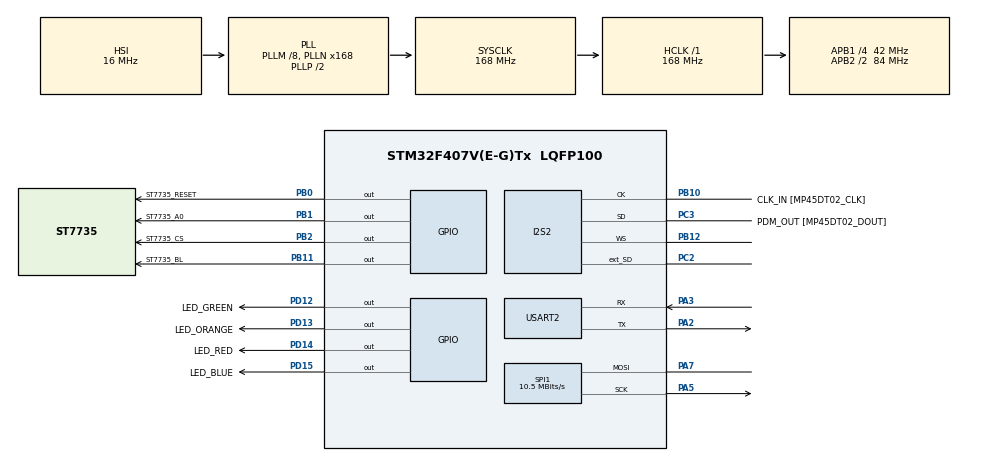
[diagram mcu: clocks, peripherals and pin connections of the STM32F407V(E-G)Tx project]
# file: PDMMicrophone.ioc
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I2S2.AudioFreq=I2S_AUDIOFREQ_16K
I2S2.DataFormat=I2S_DATAFORMAT_16B
I2S2.ErrorAudioFreq=-0.35 %
I2S2.FullDuplexMode=I2S_FULLDUPLEXMODE_ENABLE
I2S2.Instance=SPI$Index
I2S2.Mode=I2S_MODE_MASTER_RX
I2S2.RealAudioFreq=15.943 KHz
I2S2.VirtualMode=I2S_MODE_MASTER
Mcu.Family=STM32F4
Mcu.Name=STM32F407V(E-G)Tx
Mcu.Package=LQFP100
NVIC.PriorityGroup=NVIC_PRIORITYGROUP_4
PA2.Mode=Asynchronous
PA2.Signal=USART2_TX
PA3.Mode=Asynchronous
PA3.Signal=USART2_RX
PA5.Mode=Simplex_Bidirectional_Master
PA5.Signal=SPI1_SCK
PA7.Mode=Simplex_Bidirectional_Master
PA7.Signal=SPI1_MOSI
PB0.GPIO_Label=ST7735_RESET
PB0.Signal=GPIO_Output
PB1.GPIO_Label=ST7735_A0
PB1.Signal=GPIO_Output
PB10.GPIO_Label=CLK_IN [MP45DT02_CLK]
PB10.Mode=Full_Duplex_Master
PB10.Signal=I2S2_CK
PB11.GPIO_Label=ST7735_BL
PB11.Signal=GPIO_Output
PB12.Mode=Full_Duplex_Master
PB12.Signal=I2S2_WS
PB2.GPIO_Label=ST7735_CS
PB2.Signal=GPIO_Output
PC2.Mode=Full_Duplex_Master
PC2.Signal=I2S2_ext_SD
PC3.GPIO_Label=PDM_OUT [MP45DT02_DOUT]
PC3.Mode=Full_Duplex_Master
PC3.Signal=I2S2_SD
PD12.GPIO_Label=LED_GREEN
PD12.Signal=GPIO_Output
PD13.GPIO_Label=LED_ORANGE
PD13.Signal=GPIO_Output
PD14.GPIO_Label=LED_RED
PD14.Signal=GPIO_Output
PD15.GPIO_Label=LED_BLUE
PD15.Signal=GPIO_Output
PDM2PCM.CHANNEL1_high_pass_tap=2147483647
PDM2PCM.CHANNEL1_in_ptr_channels=1
PDM2PCM.CHANNEL1_mic_gain=0
PDM2PCM.CHANNEL1_out_ptr_channels=1
PDM2PCM.CHANNEL1_output_samples_number=16
ProjectManager.HeapSize=0x200
ProjectManager.StackSize=0x400
ProjectManager.TargetToolchain=STM32CubeIDE
RCC.48MHZClocksFreq_Value=84000000
RCC.AHBFreq_Value=168000000
RCC.APB1CLKDivider=RCC_HCLK_DIV4
RCC.APB1Freq_Value=42000000
RCC.APB1TimFreq_Value=84000000
RCC.APB2CLKDivider=RCC_HCLK_DIV2
RCC.APB2Freq_Value=84000000
RCC.APB2TimFreq_Value=168000000
RCC.CortexFreq_Value=168000000
RCC.HCLKFreq_Value=168000000
RCC.HSE_VALUE=8000000
RCC.HSI_VALUE=16000000
RCC.LSE_VALUE=32768
RCC.PLLI2SN=50
RCC.PLLM=8
RCC.PLLN=168
RCC.SYSCLKFreq_VALUE=168000000
RCC.SYSCLKSource=RCC_SYSCLKSOURCE_PLLCLK
RCC.VCOOutputFreq_Value=336000000
SPI1.BaudRatePrescaler=SPI_BAUDRATEPRESCALER_8
SPI1.CalculateBaudRate=10.5 MBits/s
SPI1.Direction=SPI_DIRECTION_1LINE
SPI1.Mode=SPI_MODE_MASTER
SPI1.VirtualType=VM_MASTER
USART2.VirtualMode=VM_ASYNC
VP_CRC_VS_CRC.Mode=CRC_Activate
VP_PDM2PCM_VS_PDM2PCM.Mode=PDM2PCM_Channel
board=custom

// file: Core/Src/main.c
/* USER CODE BEGIN Header */
/**
  ******************************************************************************
  * @file           : main.c
  * @brief          : Main program body
  ******************************************************************************
  * @attention
  *
  * Copyright (c) 2022 STMicroelectronics.
  * All rights reserved.
  *
  * This software is licensed under terms that can be found in the LICENSE file
  * in the root directory of this software component.
  * If no LICENSE file comes with this software, it is provided AS-IS.
  *
  ******************************************************************************
  */
/* USER CODE END Header */
#include "main.h"
#include "pdm2pcm.h"

/* USER CODE BEGIN Includes */
#include "string.h"
#include "st7735.h"
#include "fonts.h"
#include <stdio.h>
#include <stdlib.h>
/* USER CODE END Includes */

/* USER CODE BEGIN PD */
#define MILS 10
#define PDM_BUFFER_SIZE 32
#define PCM_BUFFER_SIZE 2500
#define DOWNGRADE 0.95
#define PDM_BLOCK_SIZE_BITS 16
/* USER CODE END PD */

 CRC_HandleTypeDef hcrc;

I2S_HandleTypeDef hi2s2;

SPI_HandleTypeDef hspi1;

UART_HandleTypeDef huart2;

/* USER CODE BEGIN PV */
uint8_t count = 0;
uint8_t x, y;
/* USER CODE END PV */

void SystemClock_Config(void);
static void MX_GPIO_Init(void);
static void MX_CRC_Init(void);
static void MX_I2S2_Init(void);
static void MX_USART2_UART_Init(void);
static void MX_SPI1_Init(void);

/**
  */
int main(void)
{
  /* USER CODE BEGIN 1 */
  uint16_t PDM_buffer[PDM_BUFFER_SIZE];
  uint16_t PDM_value = 0;
  uint16_t pcmCount = 0;

  uint8_t i;
  uint8_t PCM_value = 0;

  float PCM_buffer = 0.0;
  float AMP_buffer = 0.0;

  float maxAmp = 0;
  float aveAmp = 0;
  /* USER CODE END 1 */

  /* MCU Configuration--------------------------------------------------------*/

  /* Reset of all peripherals, Initializes the Flash interface and the Systick. */
  HAL_Init();

  /* Configure the system clock */
  SystemClock_Config();

  /* Initialize all configured peripherals */
  MX_GPIO_Init();
  MX_CRC_Init();
  MX_I2S2_Init();
  MX_PDM2PCM_Init();
  MX_USART2_UART_Init();
  MX_SPI1_Init();
  /* USER CODE BEGIN 2 */
  ST7735_Init ();
  ST7735_Backlight_On ();
  ST7735_SetRotation (2);
  ST7735_FillScreen (YELLOW);
  int AMPCount = 0;
  /* USER CODE END 2 */

  /* Infinite loop */
  /* USER CODE BEGIN WHILE */
  while (1)
  {
      HAL_I2S_Receive (&hi2s2, PDM_buffer, PDM_BUFFER_SIZE, 1000);
      for (i = 0; i < PDM_BUFFER_SIZE; i++)
	{
	  PCM_value = -PDM_BLOCK_SIZE_BITS / 2;
	  PDM_value = PDM_buffer[i];
	  while (PDM_value != 0)
	    {
	      PCM_value++;
	      PDM_value ^= PDM_value & -PDM_value;
	    }
	  PCM_buffer += abs (PCM_value);
	  PCM_buffer *= DOWNGRADE;
	  AMP_buffer += abs (PCM_buffer);
	  AMP_buffer *= DOWNGRADE;
	}
      pcmCount++;
      AMPCount++;
      maxAmp += AMP_buffer;
//      if (maxAmp < AMP_buffer)
//	maxAmp = AMP_buffer;
      if (pcmCount == 16)
	{
	  aveAmp = maxAmp / AMPCount;
	  count++;
	  if (count < 128)
	    {
	      x = count;
	      y = 128 - (aveAmp / 500);
	      ST7735_DrawCrossPixel (x, y, GREEN);
	      ST7735_DrawFastVLine (x, 127, -(aveAmp / 500), RED);
	    }
	  else
	    {
	      ST7735_FillScreen (YELLOW);
	      count = 0;
	    }
	  pcmCount = 0;
	  maxAmp = 0;
	  AMPCount = 0;
	  aveAmp = 0;
	}
    /* USER CODE END WHILE */

  }
}
void SystemClock_Config(void)
{
  RCC_OscInitTypeDef RCC_OscInitStruct = {0};
  RCC_ClkInitTypeDef RCC_ClkInitStruct = {0};
  /** Configure the main internal regulator output voltage
  */
  __HAL_RCC_PWR_CLK_ENABLE();
  __HAL_PWR_VOLTAGESCALING_CONFIG(PWR_REGULATOR_VOLTAGE_SCALE1);
  /** Initializes the RCC Oscillators according to the specified parameters
  * in the RCC_OscInitTypeDef structure.
  */
  RCC_OscInitStruct.OscillatorType = RCC_OSCILLATORTYPE_HSI;
  RCC_OscInitStruct.HSIState = RCC_HSI_ON;
  RCC_OscInitStruct.HSICalibrationValue = RCC_HSICALIBRATION_DEFAULT;
  RCC_OscInitStruct.PLL.PLLState = RCC_PLL_ON;
  RCC_OscInitStruct.PLL.PLLSource = RCC_PLLSOURCE_HSI;
  RCC_OscInitStruct.PLL.PLLM = 8;
  RCC_OscInitStruct.PLL.PLLN = 168;
  RCC_OscInitStruct.PLL.PLLP = RCC_PLLP_DIV2;
  RCC_OscInitStruct.PLL.PLLQ = 4;
  if (HAL_RCC_OscConfig(&RCC_OscInitStruct) != HAL_OK)
  {
    Error_Handler();
  }
  /** Initializes the CPU, AHB and APB buses clocks
  */
  RCC_ClkInitStruct.ClockType = RCC_CLOCKTYPE_HCLK | RCC_CLOCKTYPE_SYSCLK
      | RCC_CLOCKTYPE_PCLK1 | RCC_CLOCKTYPE_PCLK2;
  RCC_ClkInitStruct.SYSCLKSource = RCC_SYSCLKSOURCE_PLLCLK;
  RCC_ClkInitStruct.AHBCLKDivider = RCC_SYSCLK_DIV1;
  RCC_ClkInitStruct.APB1CLKDivider = RCC_HCLK_DIV4;
  RCC_ClkInitStruct.APB2CLKDivider = RCC_HCLK_DIV2;
  if (HAL_RCC_ClockConfig(&RCC_ClkInitStruct, FLASH_LATENCY_5) != HAL_OK)
  {
    Error_Handler();
  }
}

static void MX_CRC_Init(void)
{

  hcrc.Instance = CRC;
  if (HAL_CRC_Init(&hcrc) != HAL_OK)
  {
    Error_Handler();
  }
  __HAL_CRC_DR_RESET(&hcrc);

}

static void MX_I2S2_Init(void)
{

  hi2s2.Instance = SPI2;
  hi2s2.Init.Mode = I2S_MODE_MASTER_RX;
  hi2s2.Init.Standard = I2S_STANDARD_PHILIPS;
  hi2s2.Init.DataFormat = I2S_DATAFORMAT_16B;
  hi2s2.Init.MCLKOutput = I2S_MCLKOUTPUT_DISABLE;
  hi2s2.Init.AudioFreq = I2S_AUDIOFREQ_16K;
  hi2s2.Init.CPOL = I2S_CPOL_LOW;
  hi2s2.Init.ClockSource = I2S_CLOCK_PLL;
  hi2s2.Init.FullDuplexMode = I2S_FULLDUPLEXMODE_ENABLE;
  if (HAL_I2S_Init(&hi2s2) != HAL_OK)
  {
    Error_Handler();
  }

}

static void MX_SPI1_Init(void)
{

  /* SPI1 parameter configuration*/
  hspi1.Instance = SPI1;
  hspi1.Init.Mode = SPI_MODE_MASTER;
  hspi1.Init.Direction = SPI_DIRECTION_1LINE;
  hspi1.Init.DataSize = SPI_DATASIZE_8BIT;
  hspi1.Init.CLKPolarity = SPI_POLARITY_LOW;
  hspi1.Init.CLKPhase = SPI_PHASE_1EDGE;
  hspi1.Init.NSS = SPI_NSS_SOFT;
  hspi1.Init.BaudRatePrescaler = SPI_BAUDRATEPRESCALER_8;
  hspi1.Init.FirstBit = SPI_FIRSTBIT_MSB;
  hspi1.Init.TIMode = SPI_TIMODE_DISABLE;
  hspi1.Init.CRCCalculation = SPI_CRCCALCULATION_DISABLE;
  hspi1.Init.CRCPolynomial = 10;
  if (HAL_SPI_Init(&hspi1) != HAL_OK)
  {
    Error_Handler();
  }

}

static void MX_USART2_UART_Init(void)
{

  huart2.Instance = USART2;
  huart2.Init.BaudRate = 115200;
  huart2.Init.WordLength = UART_WORDLENGTH_8B;
  huart2.Init.StopBits = UART_STOPBITS_1;
  huart2.Init.Parity = UART_PARITY_NONE;
  huart2.Init.Mode = UART_MODE_TX_RX;
  huart2.Init.HwFlowCtl = UART_HWCONTROL_NONE;
  huart2.Init.OverSampling = UART_OVERSAMPLING_16;
  if (HAL_UART_Init(&huart2) != HAL_OK)
  {
    Error_Handler();
  }

}

static void MX_GPIO_Init(void)
{
  GPIO_InitTypeDef GPIO_InitStruct = {0};

  /* GPIO Ports Clock Enable */
  __HAL_RCC_GPIOC_CLK_ENABLE();
  __HAL_RCC_GPIOA_CLK_ENABLE();
  __HAL_RCC_GPIOB_CLK_ENABLE();
  __HAL_RCC_GPIOD_CLK_ENABLE();

  /*Configure GPIO pin Output Level */
  HAL_GPIO_WritePin(GPIOB, ST7735_RESET_Pin|ST7735_A0_Pin|ST7735_CS_Pin|ST7735_BL_Pin, GPIO_PIN_RESET);

  /*Configure GPIO pin Output Level */
  HAL_GPIO_WritePin(GPIOD, LED_GREEN_Pin|LED_ORANGE_Pin|LED_RED_Pin|LED_BLUE_Pin, GPIO_PIN_RESET);

  /*Configure GPIO pins : ST7735_RESET_Pin ST7735_A0_Pin ST7735_CS_Pin ST7735_BL_Pin */
  GPIO_InitStruct.Pin = ST7735_RESET_Pin|ST7735_A0_Pin|ST7735_CS_Pin|ST7735_BL_Pin;
  GPIO_InitStruct.Mode = GPIO_MODE_OUTPUT_PP;
  GPIO_InitStruct.Pull = GPIO_NOPULL;
  GPIO_InitStruct.Speed = GPIO_SPEED_FREQ_LOW;
  HAL_GPIO_Init(GPIOB, &GPIO_InitStruct);

  /*Configure GPIO pins : LED_GREEN_Pin LED_ORANGE_Pin LED_RED_Pin LED_BLUE_Pin */
  GPIO_InitStruct.Pin = LED_GREEN_Pin|LED_ORANGE_Pin|LED_RED_Pin|LED_BLUE_Pin;
  GPIO_InitStruct.Mode = GPIO_MODE_OUTPUT_PP;
  GPIO_InitStruct.Pull = GPIO_NOPULL;
  GPIO_InitStruct.Speed = GPIO_SPEED_FREQ_LOW;
  HAL_GPIO_Init(GPIOD, &GPIO_InitStruct);

}

void Error_Handler(void)
{
  __disable_irq();
  while (1)
  {
  }
}
